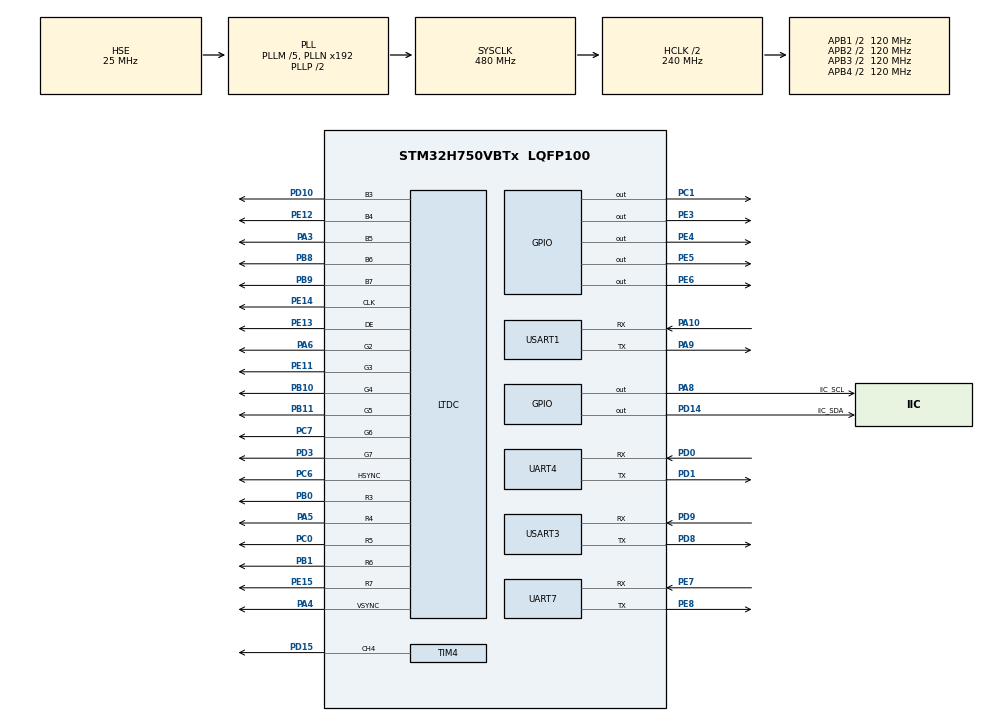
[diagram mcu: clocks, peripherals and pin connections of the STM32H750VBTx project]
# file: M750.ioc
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CORTEX_M7.AccessPermission_Spec=MPU_REGION_FULL_ACCESS
CORTEX_M7.BaseAddress_Spec=0x24000000
CORTEX_M7.IsCacheable_Spec=MPU_ACCESS_CACHEABLE
CORTEX_M7.IsShareable_Spec=MPU_ACCESS_NOT_SHAREABLE
CORTEX_M7.Size_Spec=MPU_REGION_SIZE_512KB
CORTEX_M7.SubRegionDisable_Spec=0x00
CORTEX_M7.default_mode_Activation=0
DMA2D.ColorMode=DMA2D_OUTPUT_RGB565
LTDC.Alpha_L0=255
LTDC.Alpha_L1=255
LTDC.FBStartAdress_L0=0x24000000
LTDC.FBStartAdress_L1=0x24000000
LTDC.ImageHeight_L0=480
LTDC.ImageHeight_L1=480
LTDC.ImageWidth_L0=800
LTDC.ImageWidth_L1=800
LTDC.PixelFormat_L0=LTDC_PIXEL_FORMAT_L8
LTDC.PixelFormat_L1=LTDC_PIXEL_FORMAT_L8
LTDC.WindowX1_L0=800
LTDC.WindowX1_L1=800
LTDC.WindowY1_L0=480
LTDC.WindowY1_L1=480
Mcu.Family=STM32H7
Mcu.Name=STM32H750VBTx
Mcu.Package=LQFP100
NVIC.DMA2D_IRQn=true\:6\:0\:true\:false\:true\:true\:true\:true
NVIC.LTDC_IRQn=true\:6\:0\:true\:false\:true\:true\:true\:true
NVIC.PriorityGroup=NVIC_PRIORITYGROUP_4
NVIC.UART4_IRQn=true\:0\:0\:false\:false\:true\:true\:true\:true
NVIC.UART7_IRQn=true\:0\:0\:false\:false\:true\:true\:true\:true
NVIC.USART1_IRQn=true\:0\:0\:false\:false\:true\:true\:true\:true
NVIC.USART3_IRQn=true\:0\:0\:false\:false\:true\:true\:true\:true
PA10.GPIO_Speed=GPIO_SPEED_FREQ_VERY_HIGH
PA10.Mode=Asynchronous
PA10.Signal=USART1_RX
PA3.GPIO_Speed=GPIO_SPEED_FREQ_VERY_HIGH
PA3.Mode=RGB565
PA3.Signal=LTDC_B5
PA4.GPIO_Speed=GPIO_SPEED_FREQ_VERY_HIGH
PA4.Mode=RGB565
PA4.Signal=LTDC_VSYNC
PA5.GPIO_Speed=GPIO_SPEED_FREQ_VERY_HIGH
PA5.Mode=RGB565
PA5.Signal=LTDC_R4
PA6.GPIO_Speed=GPIO_SPEED_FREQ_VERY_HIGH
PA6.Mode=RGB565
PA6.Signal=LTDC_G2
PA8.GPIO_Label=IIC_SCL
PA8.GPIO_ModeDefaultOutputPP=GPIO_MODE_OUTPUT_OD
PA8.GPIO_PuPd=GPIO_NOPULL
PA8.GPIO_Speed=GPIO_SPEED_FREQ_VERY_HIGH
PA8.PinState=GPIO_PIN_SET
PA8.Signal=GPIO_Output
PA9.GPIO_Speed=GPIO_SPEED_FREQ_VERY_HIGH
PA9.Mode=Asynchronous
PA9.Signal=USART1_TX
PB0.GPIO_Speed=GPIO_SPEED_FREQ_VERY_HIGH
PB0.Mode=RGB565
PB0.Signal=LTDC_R3
PB1.GPIO_Speed=GPIO_SPEED_FREQ_VERY_HIGH
PB1.Mode=RGB565
PB1.Signal=LTDC_R6
PB10.GPIO_Speed=GPIO_SPEED_FREQ_VERY_HIGH
PB10.Mode=RGB565
PB10.Signal=LTDC_G4
PB11.GPIO_Speed=GPIO_SPEED_FREQ_VERY_HIGH
PB11.Mode=RGB565
PB11.Signal=LTDC_G5
PB8.GPIO_Speed=GPIO_SPEED_FREQ_VERY_HIGH
PB8.Mode=RGB565
PB8.Signal=LTDC_B6
PB9.GPIO_Speed=GPIO_SPEED_FREQ_VERY_HIGH
PB9.Mode=RGB565
PB9.Signal=LTDC_B7
PC0.GPIO_Speed=GPIO_SPEED_FREQ_VERY_HIGH
PC0.Mode=RGB565
PC0.Signal=LTDC_R5
PC1.GPIO_Speed=GPIO_SPEED_FREQ_VERY_HIGH
PC1.Signal=GPIO_Output
PC6.GPIO_Speed=GPIO_SPEED_FREQ_VERY_HIGH
PC6.Mode=RGB565
PC6.Signal=LTDC_HSYNC
PC7.GPIO_Speed=GPIO_SPEED_FREQ_VERY_HIGH
PC7.Mode=RGB565
PC7.Signal=LTDC_G6
PD0.Mode=Asynchronous
PD0.Signal=UART4_RX
PD1.Mode=Asynchronous
PD1.Signal=UART4_TX
PD10.GPIO_Speed=GPIO_SPEED_FREQ_VERY_HIGH
PD10.Mode=RGB565
PD10.Signal=LTDC_B3
PD14.GPIO_Label=IIC_SDA
PD14.GPIO_ModeDefaultOutputPP=GPIO_MODE_OUTPUT_OD
PD14.GPIO_PuPd=GPIO_NOPULL
PD14.GPIO_Speed=GPIO_SPEED_FREQ_VERY_HIGH
PD14.PinState=GPIO_PIN_SET
PD14.Signal=GPIO_Output
PD15.GPIO_Speed=GPIO_SPEED_FREQ_VERY_HIGH
PD15.Signal=S_TIM4_CH4
PD3.GPIO_Speed=GPIO_SPEED_FREQ_VERY_HIGH
PD3.Mode=RGB565
PD3.Signal=LTDC_G7
PD8.Mode=Asynchronous
PD8.Signal=USART3_TX
PD9.Mode=Asynchronous
PD9.Signal=USART3_RX
PE11.GPIO_Speed=GPIO_SPEED_FREQ_VERY_HIGH
PE11.Mode=RGB565
PE11.Signal=LTDC_G3
PE12.GPIO_Speed=GPIO_SPEED_FREQ_VERY_HIGH
PE12.Mode=RGB565
PE12.Signal=LTDC_B4
PE13.GPIO_Speed=GPIO_SPEED_FREQ_VERY_HIGH
PE13.Mode=RGB565
PE13.Signal=LTDC_DE
PE14.GPIO_Speed=GPIO_SPEED_FREQ_VERY_HIGH
PE14.Mode=RGB565
PE14.Signal=LTDC_CLK
PE15.GPIO_Speed=GPIO_SPEED_FREQ_VERY_HIGH
PE15.Mode=RGB565
PE15.Signal=LTDC_R7
PE3.PinState=GPIO_PIN_SET
PE3.Signal=GPIO_Output
PE4.Signal=GPIO_Output
PE5.GPIO_ModeDefaultOutputPP=GPIO_MODE_OUTPUT_OD
PE5.GPIO_PuPd=GPIO_NOPULL
PE5.PinState=GPIO_PIN_SET
PE5.Signal=GPIO_Output
PE6.GPIO_ModeDefaultOutputPP=GPIO_MODE_OUTPUT_OD
PE6.GPIO_PuPd=GPIO_NOPULL
PE6.PinState=GPIO_PIN_SET
PE6.Signal=GPIO_Output
PE7.GPIO_Speed=GPIO_SPEED_FREQ_VERY_HIGH
PE7.Mode=Asynchronous
PE7.Signal=UART7_RX
PE8.GPIO_Speed=GPIO_SPEED_FREQ_VERY_HIGH
PE8.Mode=Asynchronous
PE8.Signal=UART7_TX
PH0-OSC_IN\ (PH0).Mode=HSE-External-Oscillator
PH0-OSC_IN\ (PH0).Signal=RCC_OSC_IN
PH1-OSC_OUT\ (PH1).Mode=HSE-External-Oscillator
PH1-OSC_OUT\ (PH1).Signal=RCC_OSC_OUT
ProjectManager.HeapSize=0x1000
ProjectManager.StackSize=0x3000
ProjectManager.TargetToolchain=MDK-ARM V5.27
RCC.ADCFreq_Value=50390625
RCC.APB1Freq_Value=120000000
RCC.APB2Freq_Value=120000000
RCC.APB3Freq_Value=120000000
RCC.APB4Freq_Value=120000000
RCC.CortexFreq_Value=480000000
RCC.D1PPRE=RCC_APB3_DIV2
RCC.D2PPRE1=RCC_APB1_DIV2
RCC.D2PPRE2=RCC_APB2_DIV2
RCC.D3PPRE=RCC_APB4_DIV2
RCC.DIVM1=5
RCC.DIVM3=25
RCC.DIVN1=192
RCC.DIVN3=330
RCC.DIVR3=10
RCC.HCLKFreq_Value=240000000
RCC.HPRE=RCC_HCLK_DIV2
RCC.PLL3FRACN=0
RCC.PLLFRACN=0
RCC.PLLSourceVirtual=RCC_PLLSOURCE_HSE
RCC.SYSCLKFreq_VALUE=480000000
RCC.SYSCLKSource=RCC_SYSCLKSOURCE_PLLCLK
RCC.USBFreq_Value=480000000
SH.S_TIM4_CH4.0=TIM4_CH4,PWM Generation4 CH4
TIM4.Channel-PWM\ Generation4\ CH4=TIM_CHANNEL_4
TIM4.Period=499
TIM4.Prescaler=240
TIM4.Pulse-PWM\ Generation4\ CH4=250
USART1.VirtualMode-Asynchronous=VM_ASYNC
USART3.VirtualMode-Asynchronous=VM_ASYNC
VP_DMA2D_VS_DMA2D.Mode=DMA2D_Activate
VP_MEMORYMAP_VS_MEMORYMAP.Mode=CurAppReg
VP_TIM4_VS_ClockSourceINT.Mode=Internal
board=custom

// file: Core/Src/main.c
/* USER CODE BEGIN Header */
/**
  ******************************************************************************
  * @file           : main.c
  * @brief          : Main program body
  ******************************************************************************
  * @attention
  *
  * Copyright (c) 2024 STMicroelectronics.
  * All rights reserved.
  *
  * This software is licensed under terms that can be found in the LICENSE file
  * in the root directory of this software component.
  * If no LICENSE file comes with this software, it is provided AS-IS.
  *
  ******************************************************************************
  */

  /***********When modifying the CUBEMX configuration, ************************/
  /***********remember to modify the following code****************************/
  /***********1.Comment out the line before USER CODE *************************/
  /****************MX_LTDC_Init();*********************************************/
  /****************MX_DMA2D_Init();********************************************/
  /****************************************************************************/
  /***********2.delete main.c ???????????????????? function********************/
/* USER CODE END Header */
#include "main.h"
#include "dma2d.h"
#include "ltdc.h"
#include "memorymap.h"
#include "tim.h"
#include "usart.h"
#include "gpio.h"

/* USER CODE BEGIN Includes */
#include "SysConfig.h"
#include "stdio.h"

#if 1
	#include "led.h"
	#include "key.h"
//	#include "dht11.h"
	#include "myiic.h"
	#include "sgp30.h"
	#include "lcd_rgb.h"
	#include "lcd_pwm.h"
	#include "touch_800x480.h"

	#include "lvgl.h"
	#include "lv_port_disp_template.h"
	#include "lv_port_indev_template.h"
//	#include "lv_demo_benchmark.h"
	#include "lv_gui.h"
	//#include ".h"

#endif

/* USER CODE END Includes */

/* USER CODE BEGIN PV */
uint8_t Buffer[1];
uint8_t DHT11_BUF[2]={0};
/* USER CODE END PV */

void SystemClock_Config(void);
/* USER CODE BEGIN PFP */
void MPU_Config(void);
/* USER CODE END PFP */

/* USER CODE BEGIN 0 */
void print_serial_id() {
    uint8_t id[6];  // 用于存储序列号
    int result;

    // 调用函数获取序列号
    result = sgp30_get_serial_id(id);

    // 检查函数返回值并打印结果
    if (result == 0) {
        printf("SGP30 Serial ID: ");
        for (int i = 0; i < 6; i++) {
            printf("%02X", id[i]);
            if (i < 5) {
                printf("-");
            }
        }
        printf("\n");
    } else {
        printf("Error: Failed to get serial ID. Error code: %d\n", result);
    }
}

/* USER CODE END 0 */

int main(void)
{

  /* USER CODE BEGIN 1 */

	MPU_Config();
	SCB_EnableICache();		// 使能ICache
	SCB_EnableDCache();		// 使能DCache

  /* USER CODE END 1 */

  /* MCU Configuration--------------------------------------------------------*/

  /* Reset of all peripherals, Initializes the Flash interface and the Systick. */
  HAL_Init();

  /* Configure the system clock */
  SystemClock_Config();

  /* USER CODE BEGIN SysInit */
  LtdcClock_Config();
  /* USER CODE END SysInit */

  /* Initialize all configured peripherals */
  MX_GPIO_Init();
  MX_USART1_UART_Init();
//  MX_LTDC_Init();
//  MX_DMA2D_Init();
  MX_TIM4_Init();
  MX_UART7_Init();
  MX_USART3_UART_Init();
  MX_UART4_Init();
  /* USER CODE BEGIN 2 */
  HAL_UART_Receive_IT(&huart1, (uint8_t *)Buffer, 1);
  HAL_UART_Receive_IT(&huart7, (uint8_t *)Buffer, 1);
  HAL_UART_Receive_IT(&huart3, (uint8_t *)Buffer, 1);
  HAL_UART_Receive_IT(&huart4, (uint8_t *)Buffer, 1);
	LED_Init();					// 初始化LED引脚
	KEY_Init();					// 初始化按键引脚
//	DHT11_Init();
	IIC_Init();
	IIC_Scan_Devices();
	sgp30_init();

	MX_LTDC_Init();			// LTDC以及层初始化
//	LCD_PWMinit(40);			// 背光引脚PWM初始化，占空比40%
	Touch_Init();				// 触摸屏初始化

	lv_init();					//	LVGL初始化
	lv_port_disp_init();		//	LVGL显示接口初始化
	lv_port_indev_init();	// LVGL触摸接口初始化

//	lv_demo_benchmark();    // 运行官方例程
	lv_gui();

  /* USER CODE END 2 */

  /* Infinite loop */
  /* USER CODE BEGIN WHILE */
  while (1)
  {
//		MeasureLoopFrequency();

//		DHT11_ReadData(DHT11_BUF);
//		printf("%d %d\r\n",DHT11_BUF[0],DHT11_BUF[1]);

//		float temperature,humidity;
//
//		SHT40_Read_RHData(&temperature,&humidity);
//		printf("%f %f \r\n",temperature,humidity);
		lv_task_handler();	// LVGL进程
		Touch_Scan();			// 触摸扫描
		LED1_Toggle;			// LED指示
		HAL_Delay(10);			// GT911触摸屏扫描间隔不能小于10ms

//	  if(KEY_Scan()==KEY_ON){printf("KEY_ON\r\n");LCD_PwmSetPulse(20);LCD_SetBackColor(152);LCD_Clear();}

//		HAL_Delay(20);

    /* USER CODE END WHILE */

  }
}

void SystemClock_Config(void)
{
  RCC_OscInitTypeDef RCC_OscInitStruct = {0};
  RCC_ClkInitTypeDef RCC_ClkInitStruct = {0};

  /** Supply configuration update enable
  */
  HAL_PWREx_ConfigSupply(PWR_LDO_SUPPLY);

  /** Configure the main internal regulator output voltage
  */
  __HAL_PWR_VOLTAGESCALING_CONFIG(PWR_REGULATOR_VOLTAGE_SCALE1);

  while(!__HAL_PWR_GET_FLAG(PWR_FLAG_VOSRDY)) {}

  __HAL_RCC_SYSCFG_CLK_ENABLE();
  __HAL_PWR_VOLTAGESCALING_CONFIG(PWR_REGULATOR_VOLTAGE_SCALE0);

  while(!__HAL_PWR_GET_FLAG(PWR_FLAG_VOSRDY)) {}

  /** Initializes the RCC Oscillators according to the specified parameters
  * in the RCC_OscInitTypeDef structure.
  */
  RCC_OscInitStruct.OscillatorType = RCC_OSCILLATORTYPE_HSE;
  RCC_OscInitStruct.HSEState = RCC_HSE_ON;
  RCC_OscInitStruct.PLL.PLLState = RCC_PLL_ON;
  RCC_OscInitStruct.PLL.PLLSource = RCC_PLLSOURCE_HSE;
  RCC_OscInitStruct.PLL.PLLM = 5;
  RCC_OscInitStruct.PLL.PLLN = 192;
  RCC_OscInitStruct.PLL.PLLP = 2;
  RCC_OscInitStruct.PLL.PLLQ = 2;
  RCC_OscInitStruct.PLL.PLLR = 2;
  RCC_OscInitStruct.PLL.PLLRGE = RCC_PLL1VCIRANGE_2;
  RCC_OscInitStruct.PLL.PLLVCOSEL = RCC_PLL1VCOWIDE;
  RCC_OscInitStruct.PLL.PLLFRACN = 0;
  if (HAL_RCC_OscConfig(&RCC_OscInitStruct) != HAL_OK)
  {
    Error_Handler();
  }

  /** Initializes the CPU, AHB and APB buses clocks
  */
  RCC_ClkInitStruct.ClockType = RCC_CLOCKTYPE_HCLK|RCC_CLOCKTYPE_SYSCLK
                              |RCC_CLOCKTYPE_PCLK1|RCC_CLOCKTYPE_PCLK2
                              |RCC_CLOCKTYPE_D3PCLK1|RCC_CLOCKTYPE_D1PCLK1;
  RCC_ClkInitStruct.SYSCLKSource = RCC_SYSCLKSOURCE_PLLCLK;
  RCC_ClkInitStruct.SYSCLKDivider = RCC_SYSCLK_DIV1;
  RCC_ClkInitStruct.AHBCLKDivider = RCC_HCLK_DIV2;
  RCC_ClkInitStruct.APB3CLKDivider = RCC_APB3_DIV2;
  RCC_ClkInitStruct.APB1CLKDivider = RCC_APB1_DIV2;
  RCC_ClkInitStruct.APB2CLKDivider = RCC_APB2_DIV2;
  RCC_ClkInitStruct.APB4CLKDivider = RCC_APB4_DIV2;

  if (HAL_RCC_ClockConfig(&RCC_ClkInitStruct, FLASH_LATENCY_4) != HAL_OK)
  {
    Error_Handler();
  }
}

/* USER CODE BEGIN 4 */
//	MPU配置
//
void MPU_Config(void)
{
  MPU_Region_InitTypeDef MPU_InitStruct;

  HAL_MPU_Disable(); // 设置之前先禁止MPU

  MPU_InitStruct.Enable 				= MPU_REGION_ENABLE;
  MPU_InitStruct.BaseAddress 			= LCD_MemoryAdd;
  MPU_InitStruct.Size 					= MPU_REGION_SIZE_512KB;
  MPU_InitStruct.AccessPermission 	= MPU_REGION_FULL_ACCESS;
  MPU_InitStruct.IsBufferable 		= MPU_ACCESS_NOT_BUFFERABLE;
  MPU_InitStruct.IsCacheable 			= MPU_ACCESS_CACHEABLE;
  MPU_InitStruct.IsShareable 			= MPU_ACCESS_NOT_SHAREABLE;
  MPU_InitStruct.Number 				= MPU_REGION_NUMBER0;
  MPU_InitStruct.TypeExtField 		= MPU_TEX_LEVEL0;
  MPU_InitStruct.SubRegionDisable 	= 0x00;
  MPU_InitStruct.DisableExec 			= MPU_INSTRUCTION_ACCESS_ENABLE;

  HAL_MPU_ConfigRegion(&MPU_InitStruct);

  HAL_MPU_Enable(MPU_PRIVILEGED_DEFAULT);	// 使能MCU
}

/* USER CODE END 4 */

void Error_Handler(void)
{
  __disable_irq();
  while (1)
  {
  }
}
